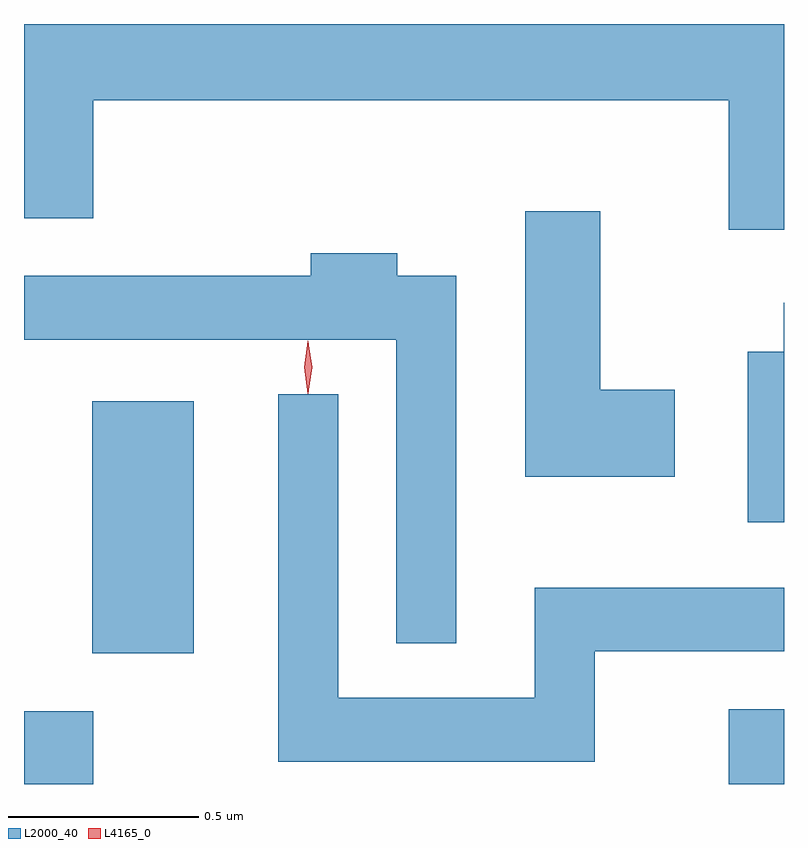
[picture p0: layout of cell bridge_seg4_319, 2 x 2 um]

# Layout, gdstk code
import gdstk
lib = gdstk.Library(unit=1e-6, precision=1e-09)
def R(c, l, rs):  # rectangles x0, y0, x1, y1
    for r in rs: c.add(gdstk.rectangle(r[:2], r[2:], *l))
def P(c, l, *ps):  # polygons
    for p in ps: c.add(gdstk.Polygon(p, *l))
L2000_40 = (2000, 40)
L4165_0 = (4165, 0)

bridge_seg4_319 = lib.new_cell('bridge_seg4_319')
R(bridge_seg4_319, L2000_40, [(515.897,1315.137,516.079,1315.329), (517.751,1315.137,517.897,1315.334), (516.076,1315.481,516.344,1316.144)])
P(bridge_seg4_319, L2000_40, [(517.897,1317.137),(515.897,1317.137),(515.897,1316.626),(516.079,1316.626),(516.079,1316.936),(517.751,1316.936),(517.751,1316.596),(517.897,1316.596)],
  [(517.609,1316.174),(517.414,1316.174),(517.414,1316.644),(517.216,1316.644),(517.216,1315.946),(517.609,1315.946)],
  [(517.034,1316.474),(516.879,1316.474),(516.879,1316.534),(516.651,1316.534),(516.651,1316.474),(515.897,1316.474),(515.897,1316.306),(516.876,1316.306),(516.876,1315.508),(517.034,1315.508)],
  [(517.897,1316.404),(517.896,1316.404),(517.896,1316.274),(517.801,1316.274),(517.801,1315.826),(517.897,1315.826)],
  [(517.399,1315.486),(517.897,1315.486),(517.897,1315.654),(517.241,1315.654),(517.241,1315.364),(516.724,1315.364),(516.724,1316.163),(516.566,1316.163),(516.566,1315.196),(517.399,1315.196)])
P(bridge_seg4_319, L4165_0, [(516.644,1316.167),(516.635,1316.234),(516.644,1316.3),(516.645,1316.3),(516.645,1316.3),(516.655,1316.234),(516.645,1316.167),(516.645,1316.167)],
  [(516.644,1316.164),(516.644,1316.164),(516.634,1316.234),(516.644,1316.302),(516.644,1316.303),(516.645,1316.302),(516.654,1316.234),(516.645,1316.164)])

lib.write_gds('bridge_seg4_319.gds')
